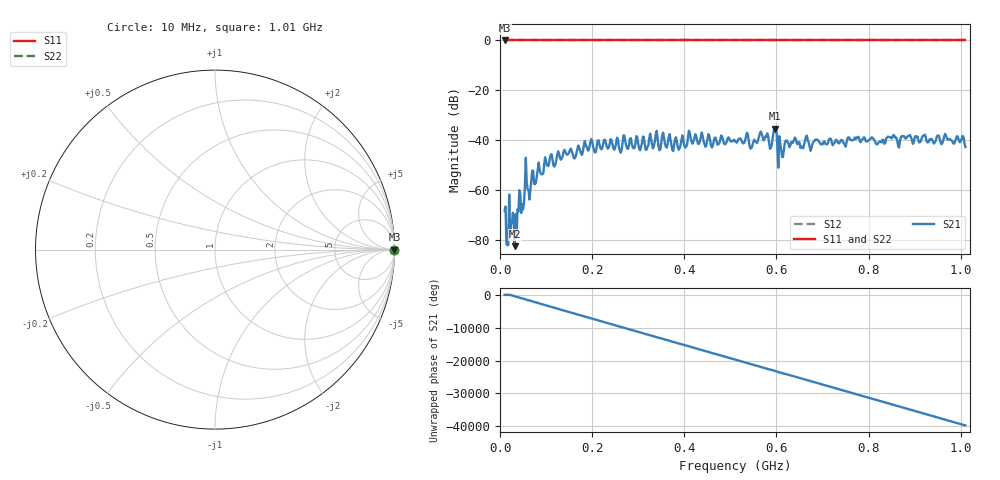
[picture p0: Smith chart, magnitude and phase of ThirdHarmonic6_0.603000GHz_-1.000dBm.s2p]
! 8/15/2025 7:42:35 PM
! C:\ANRITSUVNA\TEMP\TEMP.S2P
! CHANNEL.1
! TR.MEASUREMENT
! RAW.DATA
! RF.CORRECTION.OFF
! AVERAGING.OFF
! IF.BANDWIDTH: 5KHZ
! SWEEPTYPE:  FREQ.SWEEP(Linear)
! Reference Plane Port Info
! PORT:  PORT1  PORT2
! DISTANCE:  0  m  0  m
! TIME:  0  s  0  s
! PHASE.OFFSET:  0  deg.  0  deg.
! LOSS:  0  dB  0  dB
! REF.LOSS:  0  dB  0  dB
! REF.FREQ:  0  Hz  0  Hz
! Power Info
! POWER:  -20  dBm  -20  dBm
! EFF.POWER:  -20  dBm  -20  dBm
! SOURCE.ATTEN:  0  dB  0  dB
! TEST.ATTEN:  0  dB  0  dB
# GHZ S RI R 50.0
! FREQ.GHZ  S11RE  S11IM  S21RE  S21IM  S12RE  S12IM  S22RE  S22IM
!; PortSelection: Port_12
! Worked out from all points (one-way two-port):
!   501 points, 10 MHz to 1.01 GHz, reference 50 ohm
!   highest |S21| = -35.40 dB at 596 MHz (marker M1); lowest = -82.7 dB at 32 MHz (marker M2)
!   lowest |S11| = 0.0 dB at 10 MHz (marker M3)
!   |S11| at or under -10 dB: nowhere
!   |S22| runs from 0.0 to 0.0 dB; largest |S21 - S12| = 1
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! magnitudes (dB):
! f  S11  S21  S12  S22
! 10 MHz  0.0  -68.3  0.0  0.0
! 18 MHz  0.0  -82.2  0.0  0.0
! 24 MHz  0.0  -73.7  0.0  0.0
! 32 MHz  0.0  -82.7  0.0  0.0
! 42 MHz  0.0  -60.1  0.0  0.0
! 50 MHz  0.0  -67.9  0.0  0.0
! 58 MHz  0.0  -56.9  0.0  0.0
! 64 MHz  0.0  -63.9  0.0  0.0
! 110 MHz  0.0  -46.1  0.0  0.0
! 178 MHz  0.0  -46.0  0.0  0.0
! 344 MHz  0.0  -42.6  0.0  0.0
! 510 MHz  0.0  -40.3  0.0  0.0
! 536 MHz  0.0  -37.1  0.0  0.0
! 546 MHz  0.0  -43.1  0.0  0.0
! 566 MHz  0.0  -36.6  0.0  0.0
! 588 MHz  0.0  -43.1  0.0  0.0
! 596 MHz  0.0  -35.4  0.0  0.0
! 612 MHz  0.0  -46.7  0.0  0.0
! 638 MHz  0.0  -39.9  0.0  0.0
! 678 MHz  0.0  -41.7  0.0  0.0
! 844 MHz  0.0  -38.8  0.0  0.0
! 1.01 GHz  0.0  -42.8  0.0  0.0
